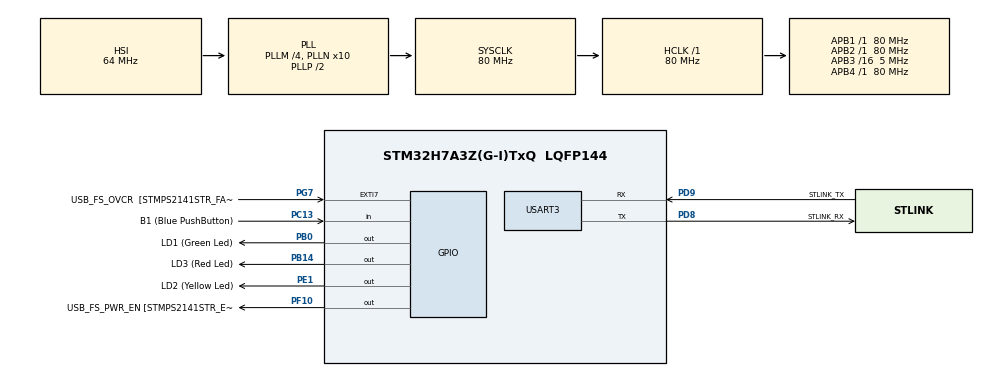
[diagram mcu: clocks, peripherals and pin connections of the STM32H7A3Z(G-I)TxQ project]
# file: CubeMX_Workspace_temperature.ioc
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ADC2.Channel-1\#ChannelRegularConversion=ADC_CHANNEL_TEMPSENSOR
ADC2.NbrOfConversionFlag=1
ADC2.OffsetNumber-1\#ChannelRegularConversion=ADC_OFFSET_NONE
ADC2.OffsetSignedSaturation-1\#ChannelRegularConversion=DISABLE
ADC2.Rank-1\#ChannelRegularConversion=1
ADC2.SamplingTime-1\#ChannelRegularConversion=ADC_SAMPLETIME_64CYCLES_5
IWDG1.Prescaler=IWDG_PRESCALER_256
IWDG1.Reload=3749
Mcu.Family=STM32H7
Mcu.Name=STM32H7A3Z(G-I)TxQ
Mcu.Package=LQFP144
NVIC.PriorityGroup=NVIC_PRIORITYGROUP_4
NVIC.RTC_Alarm_IRQn=true\:0\:0\:false\:false\:true\:true\:true\:true
NVIC.WWDG_IRQn=true\:0\:0\:false\:false\:true\:true\:true\:true
PA10.GPIO_Label=USB_FS_ID [ZX62RD-AB-5P8_ID]
PA10.Signal=USB_OTG_HS_ID
PA11.GPIO_Label=USB_FS_N [USBLC6-2SC6_IO_1]
PA11.Signal=USB_OTG_HS_DM
PA12.GPIO_Label=USB_FS_P [USBLC6-2SC6_IO_2]
PA12.Signal=USB_OTG_HS_DP
PA9.GPIO_Label=USB_FS_VBUS  [ZX62RD-AB-5P8_VBUS]
PA9.Signal=USB_OTG_HS_VBUS
PB0.GPIO_Label=LD1 (Green Led)
PB0.Signal=GPIO_Output
PB14.GPIO_Label=LD3 (Red Led)
PB14.Signal=GPIO_Output
PC13.GPIO_Label=B1 (Blue PushButton)
PC13.Signal=GPIO_Input
PC14-OSC32_IN.GPIO_Label=OSC32_IN
PC14-OSC32_IN.Mode=LSE-External-Oscillator
PC14-OSC32_IN.Signal=RCC_OSC32_IN
PC15-OSC32_OUT.GPIO_Label=OSC32_OUT
PC15-OSC32_OUT.Mode=LSE-External-Oscillator
PC15-OSC32_OUT.Signal=RCC_OSC32_OUT
PD8.GPIO_Label=STLINK_RX
PD8.Mode=Asynchronous
PD8.Signal=USART3_TX
PD9.GPIO_Label=STLINK_TX
PD9.Mode=Asynchronous
PD9.Signal=USART3_RX
PE1.GPIO_Label=LD2 (Yellow Led)
PE1.Signal=GPIO_Output
PF10.GPIO_Label=USB_FS_PWR_EN [STMPS2141STR_EN]
PF10.Signal=GPIO_Output
PG7.GPIO_Label=USB_FS_OVCR  [STMPS2141STR_FAULT]
PG7.Signal=GPXTI7
PH0-OSC_IN.GPIO_Label=PH0-MCU
PH0-OSC_IN.Mode=HSE-External-Oscillator
PH0-OSC_IN.Signal=RCC_OSC_IN
PH1-OSC_OUT.GPIO_Label=PH1-MCU
PH1-OSC_OUT.Mode=HSE-External-Oscillator
PH1-OSC_OUT.Signal=RCC_OSC_OUT
ProjectManager.HeapSize=0x200
ProjectManager.StackSize=0x400
ProjectManager.TargetToolchain=STM32CubeIDE
RCC.ADCFreq_Value=128000000
RCC.APB1Freq_Value=80000000
RCC.APB2Freq_Value=80000000
RCC.APB3Freq_Value=5000000
RCC.APB4Freq_Value=80000000
RCC.CDPPRE=RCC_APB3_DIV16
RCC.CortexFreq_Value=80000000
RCC.DIVM1=4
RCC.DIVM2=4
RCC.DIVM3=1
RCC.DIVN1=10
RCC.DIVN2=8
RCC.DIVN3=24
RCC.DIVP2=1
RCC.DIVQ1=4
RCC.HCLKFreq_Value=80000000
RCC.HSE_VALUE=8000000
RCC.PLL2FRACN=0
RCC.PLLFRACN=0
RCC.PWR_Regulator_Voltage_Scale=PWR_REGULATOR_VOLTAGE_SCALE0
RCC.SYSCLKFreq_VALUE=80000000
RCC.SYSCLKSource=RCC_SYSCLKSOURCE_PLLCLK
RCC.SupplySource=PWR_DIRECT_SMPS_SUPPLY
RCC.USBCLockSelection=RCC_USBCLKSOURCE_HSI48
RCC.USBFreq_Value=48000000
RTC.Alarm-Alarm\ A=RTC_ALARM_A
RTC.Date=20
RTC.Hours_A-Alarm\ A=11
RTC.Minutes_A-Alarm\ A=12
RTC.Month=RTC_MONTH_SEPTEMBER
RTC.WeekDay=RTC_WEEKDAY_TUESDAY
RTC.Year=22
USART3.VirtualMode-Asynchronous=VM_ASYNC
VP_ADC2_TempSens_Input.Mode=IN-TempSens
VP_IWDG1_VS_IWDG.Mode=IWDG_Activate
VP_RNG_VS_RNG.Mode=RNG_Activate
VP_RTC_VS_RTC_Activate.Mode=RTC_Enabled
VP_RTC_VS_RTC_Alarm_A_Intern.Mode=Alarm A
VP_RTC_VS_RTC_Calendar.Mode=RTC_Calendar
VP_WWDG1_VS_WWDG.Mode=WWDG_Activate
WWDG1.Counter=110
WWDG1.EWIMode=WWDG_EWI_ENABLE
WWDG1.Prescaler=WWDG_PRESCALER_64
WWDG1.Window=110
board=NUCLEO-H7A3ZI-Q

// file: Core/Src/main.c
/* USER CODE BEGIN Header */
/**
  ******************************************************************************
  * @file           : main.c
  * @brief          : Main program body
  ******************************************************************************
  * @attention
  *
  * Copyright (c) 2022 STMicroelectronics.
  * All rights reserved.
  *
  * This software is licensed under terms that can be found in the LICENSE file
  * in the root directory of this software component.
  * If no LICENSE file comes with this software, it is provided AS-IS.
  *
  ******************************************************************************
  */
/* USER CODE END Header */
#include "main.h"

/* USER CODE BEGIN Includes */
#include <stdio.h>
#include <string.h>
#include <math.h>
#include "stm32h7xx_hal_rcc.h"
/* USER CODE END Includes */

ADC_HandleTypeDef hadc2;

IWDG_HandleTypeDef hiwdg1;

RNG_HandleTypeDef hrng;

RTC_HandleTypeDef hrtc;

UART_HandleTypeDef huart3;

WWDG_HandleTypeDef hwwdg1;

/* USER CODE BEGIN PV */

/* Support Macros */
#define __RNG__
#undef __RNG__
#define __TEMPERATURE__
#undef __TEMPERATURE__
#define __FLASH__
//#undef __FLASH__
#define __TIME_DATE_ALARM__
#undef __TIME_DATE_ALARM__
#define __IWDG__
#undef __IWDG__
#define __WWDG__
#undef __WWDG__

#ifdef __TEMPERATURE__
/* macros for temperature */
uint32_t readValue;
int tCelsius;
int tFahrenheit;
#define TS30    ((uint16_t*)((uint32_t)0x08FFF814))
#define TS110   ((uint16_t*)((uint32_t)0x08FFF818))
#endif

/* macro for UART timeout */
#define UART_TIMEOUT			100

#ifdef __FLASH__
/* macros for flash */
#define DATA_TRANSMIT_LENGTH	2048 //byte

#define BYTE_TO_BIT				8
#define DATA_WRITE_AT_A_TIME	16 //byte

#define WRITING_BUFFER_DATATYPE_UINT16	16
#define DATA_TRANSMIT_LOOP	(DATA_TRANSMIT_LENGTH*WRITING_BUFFER_DATATYPE_UINT16)/(DATA_WRITE_AT_A_TIME*BYTE_TO_BIT)

#define DATA_READ_AT_A_TIME		4 //byte
#define DATA_READ_LOOP			(DATA_TRANSMIT_LENGTH*WRITING_BUFFER_DATATYPE_UINT16)/(DATA_READ_AT_A_TIME*BYTE_TO_BIT) //32-read bits at a time & 4-bytes

uint16_t buffer_tfs[DATA_TRANSMIT_LENGTH] = {0};
uint32_t send_address = 0x080FE000U;
uint32_t rcv_address = 0x080FE000U;
#endif

#ifdef __IWDG__
/* macros for IWDG watchdog */
#define WATCHDOG_RESET_TIME		25 //in seconds
#define PRESCALAR				64 //0->4, 2->8, 4->16, 8->32, 16->64, 32->128, 64->256
#define RELOAD_VAL_FROM_SECONDS	(((WATCHDOG_RESET_TIME*1000*32000)/(4*PRESCALAR*1000))-1)
#endif

#ifdef __WWDG__
/* macros for WWDG watchdog */
#define MAX_WINDOW_VAL			3 //in seconds
#define MIN_WINDOW_VAL			0 //in seconds
#define PRESCALAR_WWDG			128
#define SYS_CLK					HAL_RCC_GetSysClockFreq()

#define SECONDS_TO_WAIT			15
#define LOOP_COUNT_WWDG			(int)(SECONDS_TO_WAIT/MAX_WINDOW_VAL)
int check_loop_count_wwdg;
int apb3_clk_freq = 0;

#endif

#ifdef __RNG__
uint32_t random32bit_generatedNumber;
#endif

#ifdef __TIME_DATE_ALARM__
char alarmMsg[] = "ALARM ALARM ALARM\n";
#endif

RTC_TimeTypeDef Time;
RTC_TimeTypeDef setTime;
RTC_DateTypeDef Date;
RTC_DateTypeDef setDate;
RTC_AlarmTypeDef Alarm;
/* USER CODE END PV */

void SystemClock_Config(void);
static void MX_GPIO_Init(void);
static void MX_ADC2_Init(void);
static void MX_USART3_UART_Init(void);
static void MX_RNG_Init(void);
static void MX_RTC_Init(void);
static void MX_IWDG1_Init(void);
static void MX_WWDG1_Init(void);
/* USER CODE BEGIN PFP */
void set_time_custom();
void set_date_custom();
void set_alarm_custom();
void get_time_date();
int get_temperature();
void transmit_temperature(int temp);
void gen_random_number();

void FLASH_write();
void FLASH_clear();

void FLASH_Read(uint32_t StartPageAddress, uint32_t *RxBuf, uint16_t numberofwords);
void Print_readed_data(uint32_t holdMultipleRead[]);
int get_APB3_clk();
int hextodc(char *hex);
void custom_WWDG_refresh(WWDG_HandleTypeDef *hwwdg);

/* USER CODE END PFP */

int main(void)
{
  /* USER CODE BEGIN 1 */
	  HAL_Init();
#ifdef __IWDG__
  HAL_Delay(1000);
  HAL_GPIO_WritePin(GPIOB, GPIO_PIN_0, GPIO_PIN_SET);
#endif
	  /* USER CODE BEGIN Init */

	  /* USER CODE END Init */

	  /* Configure the system clock */
	  SystemClock_Config();

#ifdef __WWDG__
    check_loop_count_wwdg = 0;
	apb3_clk_freq = get_APB3_clk();
	#define APB3_PERI_CLK_VAL		apb3_clk_freq//5
	#define COUNTER_VAL				(((MAX_WINDOW_VAL*APB3_PERI_CLK_VAL*1000000)/(4096*PRESCALAR_WWDG))+64)+1
	#define WINDOW_VAL				(COUNTER_VAL - ((MIN_WINDOW_VAL*APB3_PERI_CLK_VAL*1000000)/(4096*PRESCALAR_WWDG)))+1
#endif

	// Use local
#ifdef __FLASH__
	uint32_t holdMultipleRead[DATA_READ_LOOP] = {0};

	for(int i=0; i<DATA_TRANSMIT_LENGTH; i++){
		buffer_tfs[i] = i;
	}
#endif
  /* USER CODE END 1 */

  /* MCU Configuration--------------------------------------------------------*/

  /* Reset of all peripherals, Initializes the Flash interface and the Systick. */

  /* Initialize all configured peripherals */
  MX_GPIO_Init();
  MX_ADC2_Init();
  MX_USART3_UART_Init();
  MX_RNG_Init();
  MX_RTC_Init();
  /* USER CODE BEGIN 2 */

#ifdef __IWDG__
  /* watchdog */
  MX_IWDG1_Init();
  HAL_GPIO_WritePin(GPIOB, GPIO_PIN_0, GPIO_PIN_SET);
  HAL_UART_Transmit(&huart3, "uart initialized again\n", 23, 100);
  for(int i=0; i<=2; i++){
	  HAL_Delay(5000);
	  HAL_UART_Transmit(&huart3, "5 seconds\n", 10, 500);
	  HAL_IWDG_Refresh(&hiwdg1);
  }
#endif

  HAL_ADC_Start(&hadc2);

#ifdef __TIME_DATE_ALARM__
  /* set time, date & alarm */
  set_time_custom();
  set_date_custom();
  set_alarm_custom();
#endif

#ifdef __FLASH__
  /* clear the flash */
  FLASH_clear();

  /* write the flash */
  FLASH_write();

  /* Read from the flash memory */
  FLASH_Read(rcv_address, &holdMultipleRead[0], DATA_READ_LOOP);

  /* print the readed data */
  Print_readed_data(holdMultipleRead);
#endif

#ifdef __WWDG__
  MX_WWDG1_Init();
  custom_WWDG_refresh(&hwwdg1);
#endif
  /* USER CODE END 2 */

  /* Infinite loop */
  while (1)
  {

    /* USER CODE BEGIN 3 */
#ifdef __IWDG__
//	  HAL_Delay(6000);
//	  HAL_IWDG_Refresh(&hiwdg1);
#endif

#ifdef __TEMPERATURE__
	/* get the temperature */
	int t = get_temperature();

	/* transmit temperature through UART */
    transmit_temperature(t);
#endif

#ifdef __RNG__
	/* get the random number */
    HAL_Delay(10*UART_TIMEOUT);
	gen_random_number();
#endif

#ifdef __TIME_DATE_ALARM__
	/* get the time and date */
	get_time_date();

	HAL_UART_Transmit(&huart3, "\n", 1, UART_TIMEOUT);
	HAL_Delay(10*UART_TIMEOUT);
#endif
//	HAL_Delay(1000);

#ifdef __WWDG__
	  HAL_Delay(16000);
	  custom_WWDG_refresh(&hwwdg1);
#endif

  }
  /* USER CODE END 3 */
}

void SystemClock_Config(void)
{
  RCC_OscInitTypeDef RCC_OscInitStruct = {0};
  RCC_ClkInitTypeDef RCC_ClkInitStruct = {0};

  /*AXI clock gating */
  RCC->CKGAENR = 0xFFFFFFFF;

  /** Supply configuration update enable
  */
  HAL_PWREx_ConfigSupply(PWR_DIRECT_SMPS_SUPPLY);

  /** Configure the main internal regulator output voltage
  */
  __HAL_PWR_VOLTAGESCALING_CONFIG(PWR_REGULATOR_VOLTAGE_SCALE0);

  while(!__HAL_PWR_GET_FLAG(PWR_FLAG_VOSRDY)) {}

  /** Macro to configure the PLL clock source
  */
  __HAL_RCC_PLL_PLLSOURCE_CONFIG(RCC_PLLSOURCE_HSI);

  /** Initializes the RCC Oscillators according to the specified parameters
  * in the RCC_OscInitTypeDef structure.
  */
  RCC_OscInitStruct.OscillatorType = RCC_OSCILLATORTYPE_HSI48|RCC_OSCILLATORTYPE_HSI
                              |RCC_OSCILLATORTYPE_LSI;
  RCC_OscInitStruct.HSIState = RCC_HSI_DIV1;
  RCC_OscInitStruct.HSICalibrationValue = RCC_HSICALIBRATION_DEFAULT;
  RCC_OscInitStruct.LSIState = RCC_LSI_ON;
  RCC_OscInitStruct.HSI48State = RCC_HSI48_ON;
  RCC_OscInitStruct.PLL.PLLState = RCC_PLL_ON;
  RCC_OscInitStruct.PLL.PLLSource = RCC_PLLSOURCE_HSI;
  RCC_OscInitStruct.PLL.PLLM = 4;
  RCC_OscInitStruct.PLL.PLLN = 10;
  RCC_OscInitStruct.PLL.PLLP = 2;
  RCC_OscInitStruct.PLL.PLLQ = 4;
  RCC_OscInitStruct.PLL.PLLR = 2;
  RCC_OscInitStruct.PLL.PLLRGE = RCC_PLL1VCIRANGE_3;
  RCC_OscInitStruct.PLL.PLLVCOSEL = RCC_PLL1VCOWIDE;
  RCC_OscInitStruct.PLL.PLLFRACN = 0;
  if (HAL_RCC_OscConfig(&RCC_OscInitStruct) != HAL_OK)
  {
    Error_Handler();
  }

  /** Initializes the CPU, AHB and APB buses clocks
  */
  RCC_ClkInitStruct.ClockType = RCC_CLOCKTYPE_HCLK|RCC_CLOCKTYPE_SYSCLK
                              |RCC_CLOCKTYPE_PCLK1|RCC_CLOCKTYPE_PCLK2
                              |RCC_CLOCKTYPE_D3PCLK1|RCC_CLOCKTYPE_D1PCLK1;
  RCC_ClkInitStruct.SYSCLKSource = RCC_SYSCLKSOURCE_PLLCLK;
  RCC_ClkInitStruct.SYSCLKDivider = RCC_SYSCLK_DIV1;
  RCC_ClkInitStruct.AHBCLKDivider = RCC_HCLK_DIV1;
  RCC_ClkInitStruct.APB3CLKDivider = RCC_APB3_DIV16;
  RCC_ClkInitStruct.APB1CLKDivider = RCC_APB1_DIV1;
  RCC_ClkInitStruct.APB2CLKDivider = RCC_APB2_DIV1;
  RCC_ClkInitStruct.APB4CLKDivider = RCC_APB4_DIV1;

  if (HAL_RCC_ClockConfig(&RCC_ClkInitStruct, FLASH_LATENCY_1) != HAL_OK)
  {
    Error_Handler();
  }
}

static void MX_ADC2_Init(void)
{

  ADC_ChannelConfTypeDef sConfig = {0};

  /** Common config
  */
  hadc2.Instance = ADC2;
  hadc2.Init.ClockPrescaler = ADC_CLOCK_ASYNC_DIV1;
  hadc2.Init.Resolution = ADC_RESOLUTION_16B;
  hadc2.Init.ScanConvMode = ADC_SCAN_DISABLE;
  hadc2.Init.EOCSelection = ADC_EOC_SINGLE_CONV;
  hadc2.Init.LowPowerAutoWait = DISABLE;
  hadc2.Init.ContinuousConvMode = DISABLE;
  hadc2.Init.NbrOfConversion = 1;
  hadc2.Init.DiscontinuousConvMode = DISABLE;
  hadc2.Init.ExternalTrigConv = ADC_SOFTWARE_START;
  hadc2.Init.ExternalTrigConvEdge = ADC_EXTERNALTRIGCONVEDGE_NONE;
  hadc2.Init.ConversionDataManagement = ADC_CONVERSIONDATA_DR;
  hadc2.Init.Overrun = ADC_OVR_DATA_PRESERVED;
  hadc2.Init.LeftBitShift = ADC_LEFTBITSHIFT_NONE;
  hadc2.Init.OversamplingMode = DISABLE;
  if (HAL_ADC_Init(&hadc2) != HAL_OK)
  {
    Error_Handler();
  }

  /** Configure Regular Channel
  */
  sConfig.Channel = ADC_CHANNEL_TEMPSENSOR;
  sConfig.Rank = ADC_REGULAR_RANK_1;
  sConfig.SamplingTime = ADC_SAMPLETIME_64CYCLES_5;
  sConfig.SingleDiff = ADC_SINGLE_ENDED;
  sConfig.OffsetNumber = ADC_OFFSET_NONE;
  sConfig.Offset = 0;
  sConfig.OffsetSignedSaturation = DISABLE;
  if (HAL_ADC_ConfigChannel(&hadc2, &sConfig) != HAL_OK)
  {
    Error_Handler();
  }

}

#ifdef __IWDG__
static void MX_IWDG1_Init(void)
{

  hiwdg1.Instance = IWDG1;
  hiwdg1.Init.Prescaler = IWDG_PRESCALER_256;
  hiwdg1.Init.Window = 4095;
  hiwdg1.Init.Reload = RELOAD_VAL_FROM_SECONDS;
  if (HAL_IWDG_Init(&hiwdg1) != HAL_OK)
  {
    Error_Handler();
  }

}
#endif
static void MX_RNG_Init(void)
{

  hrng.Instance = RNG;
  hrng.Init.ClockErrorDetection = RNG_CED_ENABLE;
  if (HAL_RNG_Init(&hrng) != HAL_OK)
  {
    Error_Handler();
  }

}

static void MX_RTC_Init(void)
{

//  RTC_TimeTypeDef sTime = {0};
//  RTC_DateTypeDef sDate = {0};
//  RTC_AlarmTypeDef sAlarm = {0};

  /** Initialize RTC Only
  */
  hrtc.Instance = RTC;
  hrtc.Init.HourFormat = RTC_HOURFORMAT_24;
  hrtc.Init.AsynchPrediv = 127;
  hrtc.Init.SynchPrediv = 255;
  hrtc.Init.OutPut = RTC_OUTPUT_DISABLE;
  hrtc.Init.OutPutPolarity = RTC_OUTPUT_POLARITY_HIGH;
  hrtc.Init.OutPutType = RTC_OUTPUT_TYPE_OPENDRAIN;
  hrtc.Init.OutPutRemap = RTC_OUTPUT_REMAP_NONE;
  if (HAL_RTC_Init(&hrtc) != HAL_OK)
  {
    Error_Handler();
  }

  /** Initialize RTC and set the Time and Date
  */
//  sTime.Hours = 0x0;
//  sTime.Minutes = 0x0;
//  sTime.Seconds = 0x0;
//  sTime.DayLightSaving = RTC_DAYLIGHTSAVING_NONE;
//  sTime.StoreOperation = RTC_STOREOPERATION_RESET;
//  if (HAL_RTC_SetTime(&hrtc, &sTime, RTC_FORMAT_BCD) != HAL_OK)
//  {
//    Error_Handler();
//  }
//  sDate.WeekDay = RTC_WEEKDAY_TUESDAY;
//  sDate.Month = RTC_MONTH_SEPTEMBER;
//  sDate.Date = 0x20;
//  sDate.Year = 0x22;
//  if (HAL_RTC_SetDate(&hrtc, &sDate, RTC_FORMAT_BCD) != HAL_OK)
//  {
//    Error_Handler();
//  }

  /** Enable the Alarm A
  */
//  sAlarm.AlarmTime.Hours = 0x11;
//  sAlarm.AlarmTime.Minutes = 0x12;
//  sAlarm.AlarmTime.Seconds = 0x0;
//  sAlarm.AlarmTime.SubSeconds = 0x0;
//  sAlarm.AlarmTime.DayLightSaving = RTC_DAYLIGHTSAVING_NONE;
//  sAlarm.AlarmTime.StoreOperation = RTC_STOREOPERATION_RESET;
//  sAlarm.AlarmMask = RTC_ALARMMASK_NONE;
//  sAlarm.AlarmSubSecondMask = RTC_ALARMSUBSECONDMASK_ALL;
//  sAlarm.AlarmDateWeekDaySel = RTC_ALARMDATEWEEKDAYSEL_DATE;
//  sAlarm.AlarmDateWeekDay = 0x1;
//  sAlarm.Alarm = RTC_ALARM_A;
//  if (HAL_RTC_SetAlarm_IT(&hrtc, &sAlarm, RTC_FORMAT_BCD) != HAL_OK)
//  {
//    Error_Handler();
//  }
  /* USER CODE BEGIN RTC_Init 2 */
	HAL_PWR_EnableBkUpAccess();
  /* USER CODE END RTC_Init 2 */

}

static void MX_USART3_UART_Init(void)
{

  huart3.Instance = USART3;
  huart3.Init.BaudRate = 115200;
  huart3.Init.WordLength = UART_WORDLENGTH_8B;
  huart3.Init.StopBits = UART_STOPBITS_1;
  huart3.Init.Parity = UART_PARITY_NONE;
  huart3.Init.Mode = UART_MODE_TX_RX;
  huart3.Init.HwFlowCtl = UART_HWCONTROL_NONE;
  huart3.Init.OverSampling = UART_OVERSAMPLING_16;
  huart3.Init.OneBitSampling = UART_ONE_BIT_SAMPLE_DISABLE;
  huart3.Init.ClockPrescaler = UART_PRESCALER_DIV1;
  huart3.AdvancedInit.AdvFeatureInit = UART_ADVFEATURE_NO_INIT;
  if (HAL_UART_Init(&huart3) != HAL_OK)
  {
    Error_Handler();
  }
  if (HAL_UARTEx_SetTxFifoThreshold(&huart3, UART_TXFIFO_THRESHOLD_1_8) != HAL_OK)
  {
    Error_Handler();
  }
  if (HAL_UARTEx_SetRxFifoThreshold(&huart3, UART_RXFIFO_THRESHOLD_1_8) != HAL_OK)
  {
    Error_Handler();
  }
  if (HAL_UARTEx_DisableFifoMode(&huart3) != HAL_OK)
  {
    Error_Handler();
  }

}

#ifdef __WWDG__
static void MX_WWDG1_Init(void)
{

  hwwdg1.Instance = WWDG1;
  hwwdg1.Init.Prescaler = WWDG_PRESCALER_128;
  hwwdg1.Init.Window = WINDOW_VAL;
  hwwdg1.Init.Counter = COUNTER_VAL;
  hwwdg1.Init.EWIMode = WWDG_EWI_ENABLE;
  if (HAL_WWDG_Init(&hwwdg1) != HAL_OK)
  {
    Error_Handler();
  }

}
#endif
static void MX_GPIO_Init(void)
{
  GPIO_InitTypeDef GPIO_InitStruct = {0};

  /* GPIO Ports Clock Enable */
  __HAL_RCC_GPIOC_CLK_ENABLE();
  __HAL_RCC_GPIOF_CLK_ENABLE();
  __HAL_RCC_GPIOH_CLK_ENABLE();
  __HAL_RCC_GPIOB_CLK_ENABLE();
  __HAL_RCC_GPIOD_CLK_ENABLE();
  __HAL_RCC_GPIOG_CLK_ENABLE();
  __HAL_RCC_GPIOA_CLK_ENABLE();
  __HAL_RCC_GPIOE_CLK_ENABLE();

  /*Configure GPIO pin Output Level */
  HAL_GPIO_WritePin(USB_FS_PWR_EN_GPIO_Port, USB_FS_PWR_EN_Pin, GPIO_PIN_RESET);

  /*Configure GPIO pin Output Level */
  HAL_GPIO_WritePin(GPIOB, LD1_Pin|LD3_Pin, GPIO_PIN_RESET);

  /*Configure GPIO pin Output Level */
  HAL_GPIO_WritePin(LD2_GPIO_Port, LD2_Pin, GPIO_PIN_RESET);

  /*Configure GPIO pin : B1_Pin */
  GPIO_InitStruct.Pin = B1_Pin;
  GPIO_InitStruct.Mode = GPIO_MODE_INPUT;
  GPIO_InitStruct.Pull = GPIO_NOPULL;
  HAL_GPIO_Init(B1_GPIO_Port, &GPIO_InitStruct);

  /*Configure GPIO pin : USB_FS_PWR_EN_Pin */
  GPIO_InitStruct.Pin = USB_FS_PWR_EN_Pin;
  GPIO_InitStruct.Mode = GPIO_MODE_OUTPUT_PP;
  GPIO_InitStruct.Pull = GPIO_NOPULL;
  GPIO_InitStruct.Speed = GPIO_SPEED_FREQ_LOW;
  HAL_GPIO_Init(USB_FS_PWR_EN_GPIO_Port, &GPIO_InitStruct);

  /*Configure GPIO pins : LD1_Pin LD3_Pin */
  GPIO_InitStruct.Pin = LD1_Pin|LD3_Pin;
  GPIO_InitStruct.Mode = GPIO_MODE_OUTPUT_PP;
  GPIO_InitStruct.Pull = GPIO_NOPULL;
  GPIO_InitStruct.Speed = GPIO_SPEED_FREQ_LOW;
  HAL_GPIO_Init(GPIOB, &GPIO_InitStruct);

  /*Configure GPIO pin : USB_FS_OVCR_Pin */
  GPIO_InitStruct.Pin = USB_FS_OVCR_Pin;
  GPIO_InitStruct.Mode = GPIO_MODE_IT_RISING;
  GPIO_InitStruct.Pull = GPIO_NOPULL;
  HAL_GPIO_Init(USB_FS_OVCR_GPIO_Port, &GPIO_InitStruct);

  /*Configure GPIO pin : USB_FS_ID_Pin */
  GPIO_InitStruct.Pin = USB_FS_ID_Pin;
  GPIO_InitStruct.Mode = GPIO_MODE_AF_PP;
  GPIO_InitStruct.Pull = GPIO_NOPULL;
  GPIO_InitStruct.Speed = GPIO_SPEED_FREQ_LOW;
  GPIO_InitStruct.Alternate = GPIO_AF10_OTG1_HS;
  HAL_GPIO_Init(USB_FS_ID_GPIO_Port, &GPIO_InitStruct);

  /*Configure GPIO pins : USB_FS_N_Pin USB_FS_P_Pin */
  GPIO_InitStruct.Pin = USB_FS_N_Pin|USB_FS_P_Pin;
  GPIO_InitStruct.Mode = GPIO_MODE_AF_PP;
  GPIO_InitStruct.Pull = GPIO_NOPULL;
  GPIO_InitStruct.Speed = GPIO_SPEED_FREQ_LOW;
  HAL_GPIO_Init(GPIOA, &GPIO_InitStruct);

  /*Configure GPIO pin : LD2_Pin */
  GPIO_InitStruct.Pin = LD2_Pin;
  GPIO_InitStruct.Mode = GPIO_MODE_OUTPUT_PP;
  GPIO_InitStruct.Pull = GPIO_NOPULL;
  GPIO_InitStruct.Speed = GPIO_SPEED_FREQ_LOW;
  HAL_GPIO_Init(LD2_GPIO_Port, &GPIO_InitStruct);

}

/* USER CODE BEGIN 4 */

#ifdef __WWDG__
void HAL_WWDG_EarlyWakeupCallback(WWDG_HandleTypeDef *hwwdg)
{
	check_loop_count_wwdg+=1;
	if(check_loop_count_wwdg == LOOP_COUNT_WWDG){
		HAL_UART_Transmit(&huart3, "system reboot using watchdog\n", sizeof("system reboot using watchdog\n"), 100);
	}
	else{
//		WRITE_REG(hwwdg->Instance->CR, (hwwdg->Init.Counter));
		HAL_UART_Transmit(&huart3, "inside else ISR\n", sizeof("inside else ISR\n"), 100);
		HAL_WWDG_Refresh(&hwwdg1);
	}
}

int get_APB3_clk(){
	/* get the clock freq of APB3 clock */
	uint32_t rcc_hpre = (RCC->CDCFGR1) & 0xf; //first 4 bits
	uint32_t rcc_cdppre = (RCC->CDCFGR1 >> 4) & 0x7; //bit 4,5,6
	uint32_t rcc_cdcpre = (RCC->CDCFGR1 >> 8) & 0x4; //bit 8,9,10,11
	uint32_t cdcpre_clock = {0};
	if(rcc_cdcpre == 0xf){
		cdcpre_clock = SYS_CLK/0x200;
	}
	else if(rcc_cdcpre == 0xe){
		cdcpre_clock = SYS_CLK/0x100;
	}
	else if(rcc_cdcpre == 0xd){
		cdcpre_clock = SYS_CLK/0x80;
	}
	else if(rcc_cdcpre == 0xc){
		cdcpre_clock = SYS_CLK/0x40;
	}
	else if(rcc_cdcpre == 0xb){
		cdcpre_clock = SYS_CLK/0x10;
	}
	else if(rcc_cdcpre == 0xa){
		cdcpre_clock = SYS_CLK/0x8;
	}
	else if(rcc_cdcpre == 0x9){
		cdcpre_clock = SYS_CLK/0x4;
	}
	else if(rcc_cdcpre == 0x8){
		cdcpre_clock = SYS_CLK/0x2;
	}
	else {
		cdcpre_clock = SYS_CLK;
	}

	uint32_t hpre_clock = {0};
	if(rcc_hpre == 0xf){
		hpre_clock = cdcpre_clock/0x200;
	}
	else if(rcc_hpre == 0xe){
		hpre_clock = cdcpre_clock/0x100;
	}
	else if(rcc_hpre == 0xd){
		hpre_clock = cdcpre_clock/0x80;
	}
	else if(rcc_hpre == 0xc){
		hpre_clock = cdcpre_clock/0x40;
	}
	else if(rcc_hpre == 0xb){
		hpre_clock = cdcpre_clock/0x10;
	}
	else if(rcc_hpre == 0xa){
		hpre_clock = cdcpre_clock/0x8;
	}
	else if(rcc_hpre == 0x9){
		hpre_clock = cdcpre_clock/0x4;
	}
	else if(rcc_hpre == 0x8){
		hpre_clock = cdcpre_clock/0x2;
	}
	else {
		hpre_clock = cdcpre_clock;
	}

	uint32_t apb3p_clock = {0};
	if(rcc_cdppre == 0x7){
		apb3p_clock = hpre_clock/0x10;
	}
	else if(rcc_cdppre == 0x6){
		apb3p_clock = hpre_clock/0x8;
	}
	else if(rcc_cdppre == 0x5){
		apb3p_clock = hpre_clock/0x4;
	}
	else if(rcc_cdppre == 0x4){
		apb3p_clock = hpre_clock/0x2;
	}
	else {
		apb3p_clock = hpre_clock;
	}

	apb3p_clock = apb3p_clock/0xF4240;
	char temp[2];
	sprintf(temp, "%x", apb3p_clock);
	int dec = 0;
	dec = hextodc(temp);
	return dec;
}

void custom_WWDG_refresh(WWDG_HandleTypeDef *hwwdg){
	WRITE_REG(hwwdg->Instance->CR, (hwwdg->Init.Counter));
	check_loop_count_wwdg = 0;
}

int hextodc(char *hex){
   int y = 0;
   int dec = 0;
   int x, i;
   for(i = strlen(hex) - 1 ; i >= 0 ; --i){
      if(hex[i]>='0'&&hex[i]<='9'){
         x = hex[i] - '0';
      }
      else{
         x = hex[i] - 'A' + 10;
      }
      dec = dec + x * pow(16 , y);// converting hexadecimal to integer value ++y;
   }
   return dec;
}

#endif

#ifdef __TEMPERATURE__
int get_temperature(){
	HAL_ADC_PollForConversion(&hadc2, 1000);
	readValue = HAL_ADC_GetValue(&hadc2);
	int temperature;
	temperature = (int)readValue - (uint32_t)*TS30;
	temperature *= (int)((uint32_t)110 - (uint32_t)30);
	temperature /= (int)(int32_t)((uint32_t)*TS110 - (uint32_t)*TS30);
	temperature += 30;
	return temperature;
}

void transmit_temperature(int temp){
	uint8_t temperature_c[100];
	uint8_t read[100];
	sprintf(temperature_c, "Temperature in Celsius: %d\n", temp);
	sprintf(read, "Temperature read: %d\n", readValue);
	HAL_UART_Transmit(&huart3, temperature_c, strlen(temperature_c), UART_TIMEOUT);
	HAL_UART_Transmit(&huart3, read, strlen(read), UART_TIMEOUT);
}
#endif

#ifdef __RNG__
void gen_random_number(){
	HAL_RNG_GenerateRandomNumber(&hrng, &random32bit_generatedNumber);
	uint8_t rng_data[100] = {0};
	sprintf(rng_data, "Generated random number: %d", random32bit_generatedNumber);
	HAL_UART_Transmit(&huart3, rng_data, strlen(rng_data), UART_TIMEOUT);
	HAL_UART_Transmit(&huart3, "\n", 1, UART_TIMEOUT);
}
#endif

#ifdef __TIME_DATE_ALARM__
void HAL_RTC_AlarmAEventCallback(RTC_HandleTypeDef *hrtc)
{
  HAL_UART_Transmit(&huart3, (uint8_t*)alarmMsg, strlen(alarmMsg), UART_TIMEOUT);
}

void get_time_date(){
	char time[30];
	char date[30];
	HAL_RTC_GetDate(&hrtc, &Date, RTC_FORMAT_BIN);
	sprintf(date, "Date: %02d.%02d.%02d\n", Date.Date, Date.Month, Date.Year);
	HAL_RTC_GetTime(&hrtc, &Time, RTC_FORMAT_BIN);
	sprintf(time, "Time: %02d:%02d:%02d\n", Time.Hours, Time.Minutes, Time.Seconds);
	HAL_UART_Transmit(&huart3, (uint8_t*)date, strlen(date), 5*UART_TIMEOUT);
	HAL_UART_Transmit(&huart3, (uint8_t*)time, strlen(time), 5*UART_TIMEOUT);
}

void set_time_custom(){
	if(HAL_RTCEx_BKUPRead(&hrtc, RTC_BKP_DR0) != 0xFF){
		setTime.Hours = 0xb;
		setTime.Minutes = 0xb;
		setTime.Seconds = 0x00;
		HAL_RTC_SetTime(&hrtc, &setTime, RTC_FORMAT_BIN);
		HAL_RTCEx_BKUPWrite(&hrtc, RTC_BKP_DR0, 0xFF);
	} else{
		uint8_t temp[100] = {0};
		sprintf(temp, "time already set buddy! %d\n", HAL_RTCEx_BKUPRead(&hrtc, RTC_BKP_DR0));
		HAL_UART_Transmit(&huart3, temp, strlen(temp), 5*UART_TIMEOUT);
	}
}

void set_date_custom(){
	setDate.Date = 0xa;
	setDate.Month = 0xa;
	setDate.Year = 0x16;
	HAL_RTC_SetDate(&hrtc, &setDate, RTC_FORMAT_BIN);
}

void set_alarm_custom(){
	Alarm.Alarm = RTC_ALARM_A;
	Alarm.AlarmTime.Hours = 0xb;
	Alarm.AlarmTime.Minutes = 0xc;
	Alarm.AlarmTime.Seconds = 0x00;
	Alarm.AlarmMask = RTC_ALARMMASK_DATEWEEKDAY;
	HAL_RTC_SetAlarm_IT(&hrtc, &Alarm, RTC_FORMAT_BIN);
	uint8_t temp[] = "alarm set!\n";
	HAL_UART_Transmit(&huart3, (uint8_t*)temp, strlen(temp), 5*UART_TIMEOUT);
}
#endif

#ifdef __FLASH__
void FLASH_Read(uint32_t StartPageAddress, uint32_t *RxBuf, uint16_t numberofwords){
	uint32_t temp;
	while (1)
		{
			*RxBuf = *(__IO uint32_t *)StartPageAddress;
			StartPageAddress+=4;
			RxBuf++;
			if (!(--numberofwords)) break;
		}
}

void Print_readed_data(uint32_t holdMultipleRead[]){
	uint8_t temp_data[10] = {0};
	uint16_t a,b;
	for(int i=0; i<DATA_READ_LOOP; i++){
	  a = holdMultipleRead[i]>>16;
	  b = holdMultipleRead[i] & 0x0000ffff;
	  sprintf(temp_data, "%d\n%d\n", b,a);
	  HAL_UART_Transmit(&huart3, temp_data, strlen(temp_data), UART_TIMEOUT);
  }
}

void FLASH_write(){
	// unlock the flash to write
	  if(HAL_FLASH_Unlock() != HAL_OK){
		  HAL_UART_Transmit(&huart3, "fail" ,4, 5*UART_TIMEOUT);
	  }
	  for(int i=0; i<DATA_TRANSMIT_LOOP; i++){
		  if(HAL_FLASH_Program(FLASH_TYPEPROGRAM_FLASHWORD, (uint32_t)send_address, &buffer_tfs[i*8]) != HAL_OK)
		  {
			  HAL_UART_Transmit(&huart3, "fail" ,4, 5*UART_TIMEOUT);
		  }
	  send_address+=16;
	}
	// lock the flash once done writing
	if(HAL_FLASH_Lock() != HAL_OK){
	  HAL_UART_Transmit(&huart3, "fail" ,4, 5*UART_TIMEOUT);
	}
}

void FLASH_clear(){
	if(HAL_FLASH_Unlock() != HAL_OK){
		  HAL_UART_Transmit(&huart3, "fail" ,4, 5*UART_TIMEOUT);
	  }
	  uint32_t PAGEError;
	  FLASH_EraseInitTypeDef EraseInitStruct;
	  EraseInitStruct.TypeErase = FLASH_TYPEERASE_SECTORS;
	  EraseInitStruct.NbSectors = 1;
	  EraseInitStruct.Banks = FLASH_BANK_1;
	  EraseInitStruct.Sector = FLASH_SECTOR_127;
	  if(HAL_FLASHEx_Erase(&EraseInitStruct, &PAGEError) != HAL_OK)
	  {
		  HAL_UART_Transmit(&huart3, "fail" ,4, 5*UART_TIMEOUT);
	  }
	  if(HAL_FLASH_Lock() != HAL_OK){
	    HAL_UART_Transmit(&huart3, "fail" ,4, 5*UART_TIMEOUT);
	  }
}
#endif
/* USER CODE END 4 */

void Error_Handler(void)
{
  __disable_irq();
  while (1)
  {
  }
}
